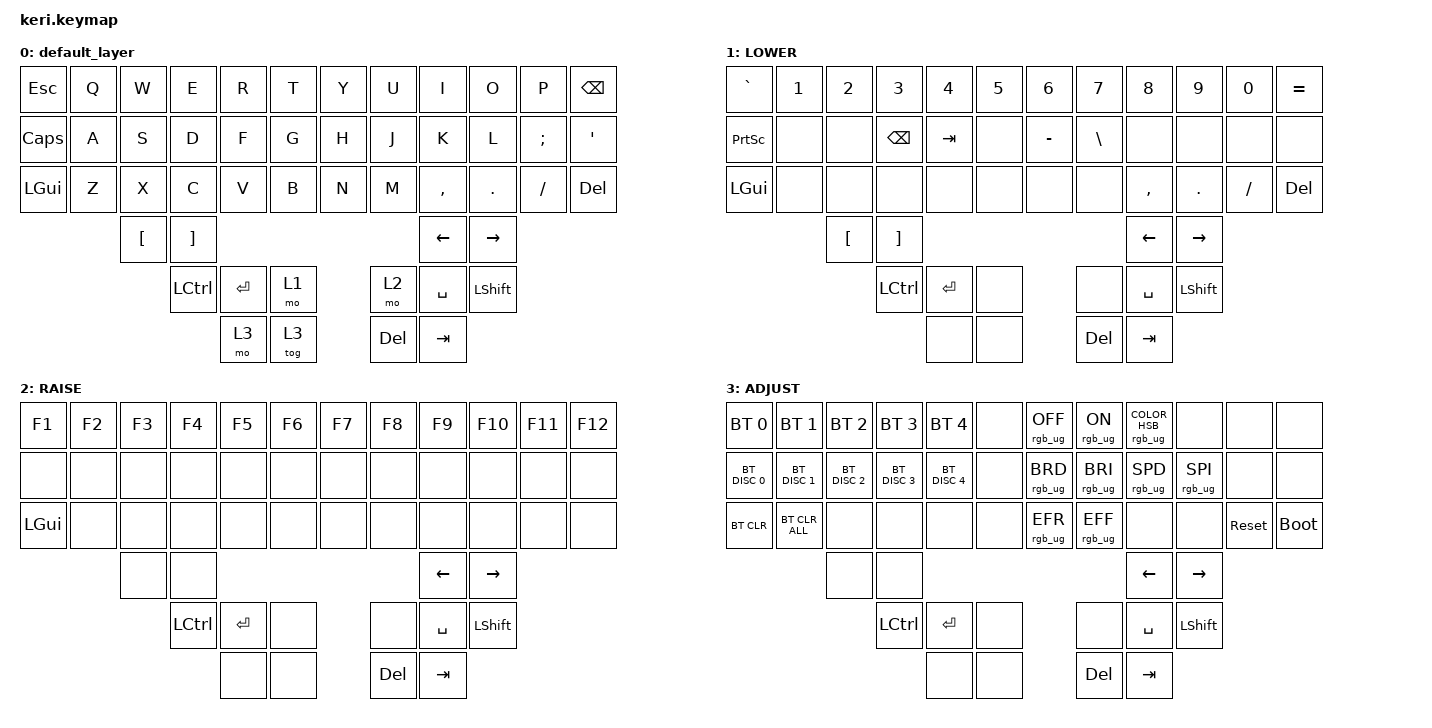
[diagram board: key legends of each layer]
#include <behaviors.dtsi>
#include <dt-bindings/zmk/bt.h>
#include <dt-bindings/zmk/keys.h>
#include <dt-bindings/zmk/rgb.h>

/ {
    keymap {
        compatible = "zmk,keymap";

        default_layer {
            bindings = <
&kp ESC   &kp Q  &kp W     &kp E      &kp R      &kp T   &kp Y  &kp U    &kp I                  &kp O      &kp P      &kp BACKSPACE
&kp CAPS  &kp A  &kp S     &kp D      &kp F      &kp G          &kp H    &kp J      &kp K       &kp L      &kp SEMI   &kp APOS
&kp LGUI  &kp Z  &kp X     &kp C      &kp V      &kp B          &kp N    &kp M      &kp COMMA   &kp DOT    &kp SLASH  &kp DEL
                 &kp LBKT  &kp RBKT                                                 &kp LEFT    &kp RIGHT
                           &kp LCTRL  &kp ENTER  &mo 1          &mo 2    &kp SPACE  &kp LSHIFT
                                      &mo 3      &tog 3         &kp DEL  &kp TAB
            >;
        };

        lower: LOWER {
            bindings = <
&kp GRAVE        &kp N1  &kp N2    &kp N3     &kp N4     &kp N5  &kp N6  &kp N7     &kp N8                     &kp N9     &kp N0     &kp EQUAL
&kp PRINTSCREEN  &none   &none     &kp BSPC   &kp TAB    &none           &kp MINUS  &kp BACKSLASH  &none       &none      &none      &none
&kp LGUI         &none   &none     &none      &none      &none           &none      &none          &kp COMMA   &kp DOT    &kp SLASH  &kp DEL
                         &kp LBKT  &kp RBKT                                                        &kp LEFT    &kp RIGHT
                                   &kp LCTRL  &kp ENTER  &none           &none      &kp SPACE      &kp LSHIFT
                                              &none      &none           &kp DEL    &kp TAB
            >;
        };

        raise: RAISE {
            bindings = <
&kp F1    &kp F2  &kp F3  &kp F4     &kp F5     &kp F6  &kp F7  &kp F8   &kp F9                 &kp F10    &kp F11  &kp F12
&none     &none   &none   &none      &none      &none           &none    &none      &none       &none      &none    &none
&kp LGUI  &none   &none   &none      &none      &none           &none    &none      &none       &none      &none    &none
                  &none   &none                                                     &kp LEFT    &kp RIGHT
                          &kp LCTRL  &kp ENTER  &none           &none    &kp SPACE  &kp LSHIFT
                                     &none      &none           &kp DEL  &kp TAB
            >;
        };

        adjust: ADJUST {
            bindings = <
&bt BT_SEL 0   &bt BT_SEL 1    &bt BT_SEL 2   &bt BT_SEL 3   &bt BT_SEL 4   &none  &rgb_ug RGB_OFF  &rgb_ug RGB_ON   &rgb_ug RGB_COLOR_HSB(125,0,100)                   &none            &none       &none
&bt BT_DISC 0  &bt BT_DISC 1   &bt BT_DISC 2  &bt BT_DISC 3  &bt BT_DISC 4  &none                   &rgb_ug RGB_BRD  &rgb_ug RGB_BRI                   &rgb_ug RGB_SPD  &rgb_ug RGB_SPI  &none       &none
&bt BT_CLR     &bt BT_CLR_ALL  &none          &none          &none          &none                   &rgb_ug RGB_EFR  &rgb_ug RGB_EFF                   &none            &none            &sys_reset  &bootloader
                               &none          &none                                                                                                    &kp LEFT         &kp RIGHT
                                              &kp LCTRL      &kp ENTER      &none                   &none            &kp SPACE                         &kp LSHIFT
                                                             &none          &none                   &kp DEL          &kp TAB
            >;
        };
    };
};
